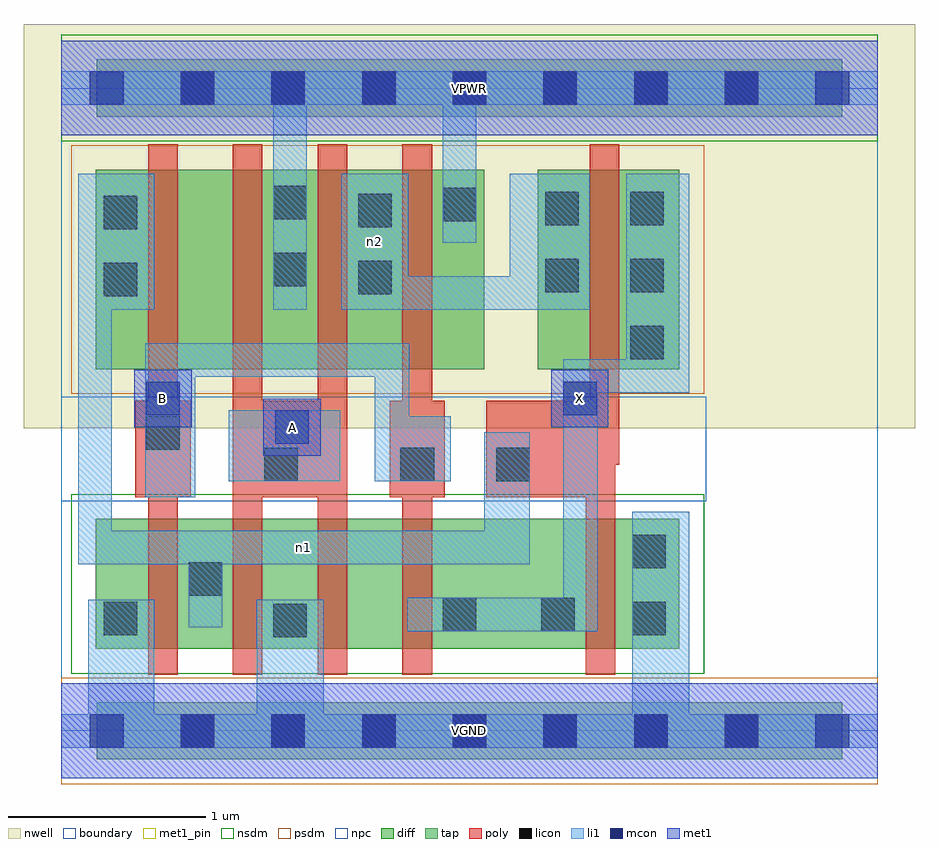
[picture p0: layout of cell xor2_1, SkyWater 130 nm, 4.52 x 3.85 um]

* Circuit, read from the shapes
.subckt xor2_1 A B VGND VPWR X n1 n2
XM1 n1 B VGND VGND sky130_fd_pr__nfet_01v8 w=0.66 l=0.15
XM2 VGND A n1 VGND sky130_fd_pr__nfet_01v8 w=0.66 l=0.15
XM3 n3 A VGND VGND sky130_fd_pr__nfet_01v8 w=0.66 l=0.15
XM4 X B n3 VGND sky130_fd_pr__nfet_01v8 w=0.66 l=0.15
XM5 VGND n1 X VGND sky130_fd_pr__nfet_01v8 w=0.66 l=0.15
XM6 n4 B n1 VPWR sky130_fd_pr__pfet_01v8 w=1.01 l=0.15
XM7 VPWR A n4 VPWR sky130_fd_pr__pfet_01v8 w=1.01 l=0.15
XM8 n2 A VPWR VPWR sky130_fd_pr__pfet_01v8 w=1.01 l=0.15
XM9 VPWR B n2 VPWR sky130_fd_pr__pfet_01v8 w=1.01 l=0.15
XM10 X n1 n2 VPWR sky130_fd_pr__pfet_01v8 w=1.01 l=0.15
.ends

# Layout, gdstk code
import gdstk
lib = gdstk.Library(unit=1e-6, precision=1e-09)
def R(c, l, rs):  # rectangles x0, y0, x1, y1
    for r in rs: c.add(gdstk.rectangle(r[:2], r[2:], *l))
def A(c, l, x, y, w, h, nx, ny, dx, dy):  # array of equal rectangles
    R(c, l, [(x+i*dx, y+j*dy, x+i*dx+w, y+j*dy+h) for i in range(nx) for j in range(ny)])
nwell = (64, 20)
diff = (65, 20)
tap = (65, 44)
poly = (66, 20)
licon = (66, 44)
li1 = (67, 20)
mcon = (67, 44)
met1_pin = (68, 16)
met1 = (68, 20)
nsdm = (93, 44)
psdm = (94, 20)
npc = (95, 20)
boundary = (235, 4)

xor2_1 = lib.new_cell('xor2_1')
R(xor2_1, nwell, [(-0.19,1.535,4.33,3.585), (0,1.535,4.14,3.585)])
R(xor2_1, diff, [(0.175,0.415,3.135,1.075), (0.175,1.835,2.145,2.845), (2.415,1.835,3.135,2.845)])
R(xor2_1, tap, [(0.18,-0.145,3.96,0.145), (0.18,3.115,3.96,3.405)])
A(xor2_1, poly, 0.44, 0.285, 0.15, 2.69, 4, 1, 0.43, 0)
R(xor2_1, poly, [(2.66,0.285,2.81,1.675), (0.375,1.185,0.655,1.675), (0.87,1.185,1.45,1.675), (1.665,1.185,1.945,1.675), (2.155,1.185,2.81,1.675), (2.68,1.35,2.83,2.975)])
A(xor2_1, licon, 0.605, -0.085, 0.17, 0.17, 7, 2, 0.46, 3.26)
A(xor2_1, licon, 2.885, 1.885, 0.17, 0.17, 1, 3, 0, 0.34)
R(xor2_1, licon, [(1.075,0.475,1.245,0.645), (0.215,0.485,0.385,0.655), (2.895,0.485,3.065,0.655), (1.935,0.505,2.105,0.675), (2.435,0.505,2.605,0.675), (0.645,0.685,0.815,0.855), (2.895,0.825,3.065,0.995), (1.03,1.265,1.2,1.435), (1.72,1.265,1.89,1.435), (2.205,1.265,2.375,1.435), (0.43,1.425,0.6,1.595), (0.215,2.205,0.385,2.375), (1.505,2.215,1.675,2.385), (2.455,2.225,2.625,2.395), (1.075,2.255,1.245,2.425), (0.215,2.545,0.385,2.715), (1.505,2.555,1.675,2.725), (2.455,2.565,2.625,2.735), (1.935,2.585,2.105,2.755), (1.075,2.595,1.245,2.765)])
R(xor2_1, li1, [(0,-0.085,4.14,0.085), (0.135,-0.085,0.47,0.665), (0.99,-0.085,1.33,0.665), (2.895,-0.085,3.185,1.11), (1.755,0.505,2.72,0.675), (2.545,0.505,2.72,1.885), (0.645,0.525,0.815,1.015), (0.085,0.845,2.375,1.015), (0.085,0.845,0.255,2.825), (2.145,0.845,2.375,1.515), (0.425,1.185,0.68,1.965), (0.85,1.265,1.415,1.625), (1.59,1.265,1.975,1.595), (1.59,1.265,1.765,1.965), (2.545,1.715,3.185,1.885), (2.865,1.715,3.185,2.825), (0.425,1.795,1.765,1.965), (0.085,2.135,0.47,2.825), (1.075,2.135,1.245,3.345), (1.42,2.135,1.76,2.825), (1.42,2.135,2.68,2.305), (2.275,2.135,2.68,2.825), (1.935,2.475,2.105,3.345), (0,3.175,4.14,3.345)])
A(xor2_1, mcon, 0.145, -0.085, 0.17, 0.17, 9, 2, 0.46, 3.26)
R(xor2_1, mcon, [(1.085,1.455,1.255,1.625), (0.43,1.6,0.6,1.77), (2.545,1.6,2.715,1.77)])
R(xor2_1, met1_pin, [(0,-0.24,4.14,0.24), (1.025,1.395,1.315,1.685), (0.37,1.54,0.66,1.83), (2.485,1.54,2.775,1.83), (0,3.02,4.14,3.5)])
R(xor2_1, met1, [(0,-0.24,4.14,0.24), (1.025,1.395,1.315,1.685), (0.37,1.54,0.66,1.83), (2.485,1.54,2.775,1.83), (0,3.02,4.14,3.5)])
R(xor2_1, nsdm, [(0.05,0.29,3.26,1.2), (0,2.99,4.14,3.53)])
R(xor2_1, psdm, [(0,-0.27,4.14,0.27), (0.05,1.71,3.26,2.97)])
R(xor2_1, npc, [(0,1.165,3.27,1.695)])
R(xor2_1, boundary, [(0,0,4.14,3.26)])
xor2_1.add(gdstk.Label('n1', (1.23,0.93), layer=67, texttype=5))
xor2_1.add(gdstk.Label('n2', (1.59,2.48), layer=67, texttype=5))
xor2_1.add(gdstk.Label('A', (1.17,1.54), layer=68, texttype=5))
xor2_1.add(gdstk.Label('B', (0.515,1.685), layer=68, texttype=5))
xor2_1.add(gdstk.Label('X', (2.63,1.685), layer=68, texttype=5))
xor2_1.add(gdstk.Label('VPWR', (2.07,3.26), layer=68, texttype=5))
xor2_1.add(gdstk.Label('VGND', (2.07,0), layer=68, texttype=5))
xor2_1.add(gdstk.Label('A', (1.17,1.54), layer=68, texttype=16))
xor2_1.add(gdstk.Label('B', (0.515,1.685), layer=68, texttype=16))
xor2_1.add(gdstk.Label('X', (2.63,1.685), layer=68, texttype=16))
xor2_1.add(gdstk.Label('VPWR', (2.07,3.26), layer=68, texttype=16))
xor2_1.add(gdstk.Label('VGND', (2.07,0), layer=68, texttype=16))

lib.write_gds('xor2_1.gds')
